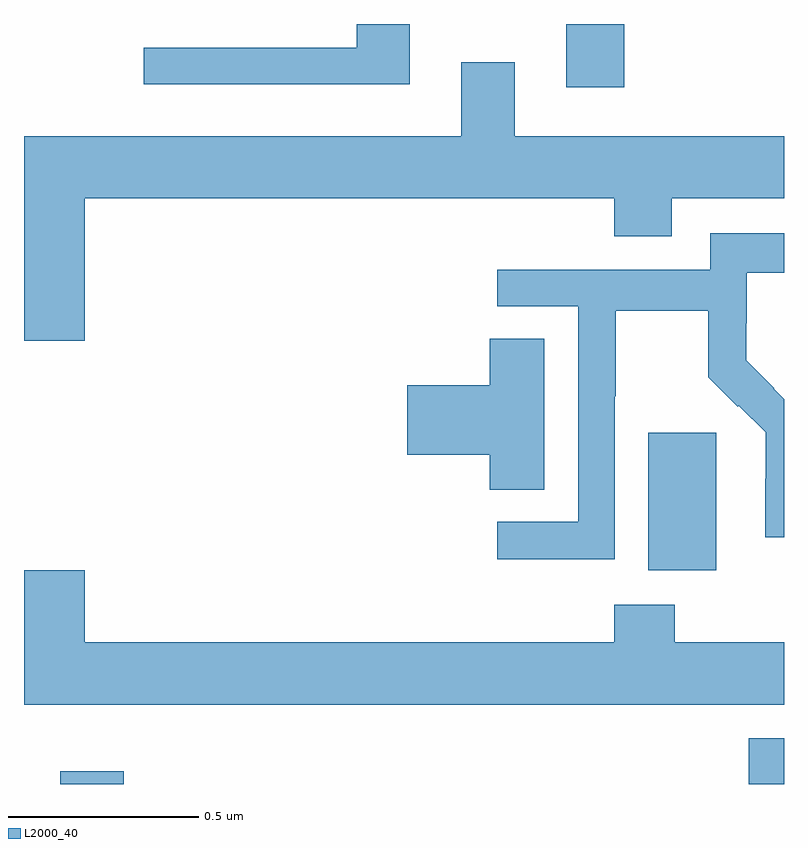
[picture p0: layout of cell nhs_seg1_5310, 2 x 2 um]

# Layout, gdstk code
import gdstk
lib = gdstk.Library(unit=1e-6, precision=1e-09)
def R(c, l, rs):  # rectangles x0, y0, x1, y1
    for r in rs: c.add(gdstk.rectangle(r[:2], r[2:], *l))
def P(c, l, *ps):  # polygons
    for p in ps: c.add(gdstk.Polygon(p, *l))
L2000_40 = (2000, 40)

nhs_seg1_5310 = lib.new_cell('nhs_seg1_5310')
R(nhs_seg1_5310, L2000_40, [(177.095,542.199,177.263,542.233), (178.907,542.199,179,542.32), (178.643,542.762,178.822,543.123), (178.427,544.032,178.58,544.199)])
P(nhs_seg1_5310, L2000_40, [(178.015,544.199),(177.875,544.199),(177.875,544.137),(177.315,544.137),(177.315,544.04),(178.015,544.04)],
  [(177.16,543.74),(178.553,543.74),(178.553,543.641),(178.705,543.641),(178.705,543.74),(179,543.74),(179,543.904),(178.291,543.904),(178.291,544.099),(178.151,544.099),(178.151,543.904),(177,543.904),(177,543.366),(177.16,543.366)],
  [(178.554,543.22),(178.557,543.22),(178.557,543.444),(178.801,543.444),(178.801,543.269),(178.878,543.192),(178.881,543.195),(178.952,543.125),(178.952,543.002),(178.95,543.002),(178.95,542.848),(179,542.848),(179,543.212),(178.973,543.239),(178.974,543.24),(178.9,543.314),(178.9,543.411),(178.902,543.411),(178.902,543.545),(179,543.545),(179,543.649),(178.806,543.649),(178.806,543.552),(178.245,543.552),(178.245,543.456),(178.458,543.456),(178.458,542.889),(178.245,542.889),(178.245,542.791),(178.554,542.791)],
  [(178.369,543.371),(178.226,543.371),(178.226,543.248),(178.008,543.248),(178.008,543.065),(178.226,543.065),(178.226,542.974),(178.369,542.974)],
  [(179,542.572),(178.713,542.572),(178.713,542.671),(178.553,542.671),(178.553,542.572),(177.16,542.572),(177.16,542.761),(177,542.761),(177,542.408),(179,542.408)])

lib.write_gds('nhs_seg1_5310.gds')
